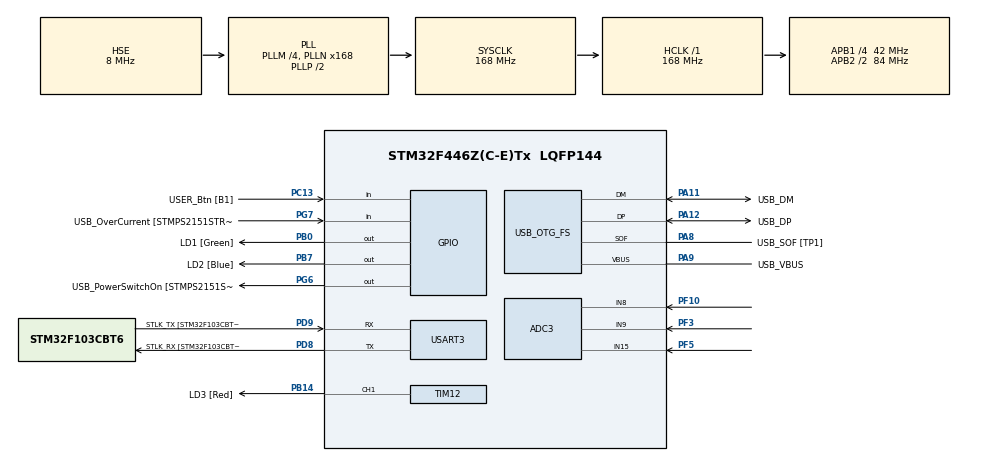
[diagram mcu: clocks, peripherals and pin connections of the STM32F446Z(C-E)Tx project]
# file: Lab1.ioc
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ADC3.Channel-0\#ChannelRegularConversion=ADC_CHANNEL_15
ADC3.NbrOfConversionFlag=1
ADC3.Rank-0\#ChannelRegularConversion=1
ADC3.SamplingTime-0\#ChannelRegularConversion=ADC_SAMPLETIME_3CYCLES
Mcu.Family=STM32F4
Mcu.Name=STM32F446Z(C-E)Tx
Mcu.Package=LQFP144
NVIC.PriorityGroup=NVIC_PRIORITYGROUP_4
PA10.GPIO_Label=USB_ID
PA10.Signal=USB_OTG_FS_ID
PA11.GPIO_Label=USB_DM
PA11.Mode=Device_Only
PA11.Signal=USB_OTG_FS_DM
PA12.GPIO_Label=USB_DP
PA12.Mode=Device_Only
PA12.Signal=USB_OTG_FS_DP
PA13.GPIO_Label=TMS
PA13.Mode=Serial_Wire
PA13.Signal=SYS_JTMS-SWDIO
PA14.GPIO_Label=TCK
PA14.Mode=Serial_Wire
PA14.Signal=SYS_JTCK-SWCLK
PA8.GPIO_Label=USB_SOF [TP1]
PA8.Mode=Activate_SOF_FS
PA8.Signal=USB_OTG_FS_SOF
PA9.GPIO_Label=USB_VBUS
PA9.Mode=Activate_VBUS
PA9.Signal=USB_OTG_FS_VBUS
PB0.GPIO_Label=LD1 [Green]
PB0.Signal=GPIO_Output
PB14.GPIO_Label=LD3 [Red]
PB14.Signal=S_TIM12_CH1
PB7.GPIO_Label=LD2 [Blue]
PB7.Signal=GPIO_Output
PC13.GPIO_Label=USER_Btn [B1]
PC13.Signal=GPIO_Input
PC14-OSC32_IN.Mode=LSE-External-Oscillator
PC14-OSC32_IN.Signal=RCC_OSC32_IN
PC15-OSC32_OUT.Mode=LSE-External-Oscillator
PC15-OSC32_OUT.Signal=RCC_OSC32_OUT
PD8.GPIO_Label=STLK_RX [STM32F103CBT6_PA3]
PD8.Mode=Asynchronous
PD8.Signal=USART3_TX
PD9.GPIO_Label=STLK_TX [STM32F103CBT6_PA2]
PD9.Mode=Asynchronous
PD9.Signal=USART3_RX
PF10.Mode=IN8
PF10.Signal=ADC3_IN8
PF3.Mode=IN9
PF3.Signal=ADC3_IN9
PF5.Mode=IN15
PF5.Signal=ADC3_IN15
PG6.GPIO_Label=USB_PowerSwitchOn [STMPS2151STR_EN]
PG6.Signal=GPIO_Output
PG7.GPIO_Label=USB_OverCurrent [STMPS2151STR_FAULT]
PG7.Signal=GPIO_Input
PH0-OSC_IN.GPIO_Label=MCO [STM32F103CBT6_PA8]
PH0-OSC_IN.Mode=HSE-External-Clock-Source
PH0-OSC_IN.Signal=RCC_OSC_IN
PH1-OSC_OUT.Mode=HSE-External-Clock-Source
PH1-OSC_OUT.Signal=RCC_OSC_OUT
ProjectManager.HeapSize=0x200
ProjectManager.StackSize=0x400
ProjectManager.TargetToolchain=STM32CubeIDE
RCC.48MHZClocksFreq_Value=24000000
RCC.AHBFreq_Value=168000000
RCC.APB1CLKDivider=RCC_HCLK_DIV4
RCC.APB1Freq_Value=42000000
RCC.APB1TimFreq_Value=84000000
RCC.APB2CLKDivider=RCC_HCLK_DIV2
RCC.APB2Freq_Value=84000000
RCC.APB2TimFreq_Value=168000000
RCC.CortexFreq_Value=168000000
RCC.HCLKFreq_Value=168000000
RCC.HSE_VALUE=8000000
RCC.HSI_VALUE=16000000
RCC.PLLM=4
RCC.PLLMUL=RCC_PLL_MUL9
RCC.PLLN=168
RCC.PLLQ=7
RCC.PRESCALERUSB=RCC_USBCLKSOURCE_PLL_DIV1_5
RCC.SYSCLKFreq_VALUE=168000000
RCC.SYSCLKSource=RCC_SYSCLKSOURCE_PLLCLK
RCC.SYSCLKSourceVirtual=RCC_SYSCLKSOURCE_PLLCLK
RCC.USBFreq_Value=48000000
RCC.VCOOutputFreq_Value=336000000
SH.S_TIM12_CH1.0=TIM12_CH1,PWM Generation1 CH1
TIM12.Channel-PWM\ Generation1\ CH1=TIM_CHANNEL_1
TIM12.Period=990
TIM12.Prescaler=83
TIM12.Pulse-PWM\ Generation1\ CH1=500
USART3.VirtualMode=VM_ASYNC
USB_OTG_FS.VirtualMode=Device_Only
VP_TIM12_VS_ClockSourceINT.Mode=Internal
board=NUCLEO-F446ZE

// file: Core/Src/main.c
/* USER CODE BEGIN Header */
/**
  ******************************************************************************
  * @file           : main.c
  * @brief          : Main program body
  ******************************************************************************
  * @attention
  *
  * Copyright (c) 2026 STMicroelectronics.
  * All rights reserved.
  *
  * This software is licensed under terms that can be found in the LICENSE file
  * in the root directory of this software component.
  * If no LICENSE file comes with this software, it is provided AS-IS.
  *
  ******************************************************************************
  */
/* USER CODE END Header */
#include "main.h"

ADC_HandleTypeDef hadc3;

TIM_HandleTypeDef htim12;

UART_HandleTypeDef huart3;

PCD_HandleTypeDef hpcd_USB_OTG_FS;

void SystemClock_Config(void);
static void MX_GPIO_Init(void);
static void MX_ADC3_Init(void);
static void MX_USART3_UART_Init(void);
static void MX_USB_OTG_FS_PCD_Init(void);
static void MX_TIM12_Init(void);

/* USER CODE BEGIN 0 */
void print_msg(char * msg) {
	HAL_UART_Transmit(&huart3, (uint8_t *)msg, strlen(msg), 100);
}

void LD3_start() {
    HAL_TIM_PWM_Start(&htim12, TIM_CHANNEL_1);
}

void LD3_setPeriod(uint16_t period) {
	__HAL_TIM_SET_AUTORELOAD(&htim12, period);
}

void LD3_setDuty(uint16_t duty) {
	__HAL_TIM_SET_COMPARE(&htim12, TIM_CHANNEL_1, duty);
}

uint16_t duty_cycle = 50; // Duty defined from 0 to 99
/* USER CODE END 0 */

int main(void)
{

  /* MCU Configuration--------------------------------------------------------*/

  /* Reset of all peripherals, Initializes the Flash interface and the Systick. */
  HAL_Init();

  /* Configure the system clock */
  SystemClock_Config();

  /* Initialize all configured peripherals */
  MX_GPIO_Init();
  MX_ADC3_Init();
  MX_USART3_UART_Init();
  MX_USB_OTG_FS_PCD_Init();
  MX_TIM12_Init();

  /* Infinite loop */
  /* USER CODE BEGIN WHILE */
  LD3_start();
  uint16_t adc_res;
  char message[100];

  while (1)
  {
	  HAL_ADC_Start(&hadc3);
	  HAL_ADC_PollForConversion(&hadc3, 100);
  	adc_res = HAL_ADC_GetValue(&hadc3);

  	duty_cycle = (adc_res * 990) / 4095;
  	LD3_setDuty(duty_cycle);

	  uint16_t on_time = (adc_res * 10) / 4095;
	  uint16_t off_time = 10 - on_time;

	  if(on_time > 0){
	  HAL_GPIO_WritePin(LD2_GPIO_Port, LD2_Pin, GPIO_PIN_SET);
	  HAL_Delay(on_time);
	  HAL_GPIO_WritePin(LD2_GPIO_Port, LD2_Pin, GPIO_PIN_RESET);
	  HAL_Delay(off_time);
	  }
	  else {
		  HAL_GPIO_WritePin(LD2_GPIO_Port, LD2_Pin, GPIO_PIN_RESET);
		  HAL_Delay(10);
	  }

  	  sprintf(message, "adc_res=%d, duty_cycle=%d\r\n", adc_res, duty_cycle);
  	  print_msg(message);

    /* USER CODE END WHILE */

  }
}

void SystemClock_Config(void)
{
  RCC_OscInitTypeDef RCC_OscInitStruct = {0};
  RCC_ClkInitTypeDef RCC_ClkInitStruct = {0};

  /** Configure the main internal regulator output voltage
  */
  __HAL_RCC_PWR_CLK_ENABLE();
  __HAL_PWR_VOLTAGESCALING_CONFIG(PWR_REGULATOR_VOLTAGE_SCALE1);

  /** Initializes the RCC Oscillators according to the specified parameters
  * in the RCC_OscInitTypeDef structure.
  */
  RCC_OscInitStruct.OscillatorType = RCC_OSCILLATORTYPE_HSE;
  RCC_OscInitStruct.HSEState = RCC_HSE_BYPASS;
  RCC_OscInitStruct.PLL.PLLState = RCC_PLL_ON;
  RCC_OscInitStruct.PLL.PLLSource = RCC_PLLSOURCE_HSE;
  RCC_OscInitStruct.PLL.PLLM = 4;
  RCC_OscInitStruct.PLL.PLLN = 168;
  RCC_OscInitStruct.PLL.PLLP = RCC_PLLP_DIV2;
  RCC_OscInitStruct.PLL.PLLQ = 7;
  RCC_OscInitStruct.PLL.PLLR = 2;
  if (HAL_RCC_OscConfig(&RCC_OscInitStruct) != HAL_OK)
  {
    Error_Handler();
  }

  /** Initializes the CPU, AHB and APB buses clocks
  */
  RCC_ClkInitStruct.ClockType = RCC_CLOCKTYPE_HCLK|RCC_CLOCKTYPE_SYSCLK
                              |RCC_CLOCKTYPE_PCLK1|RCC_CLOCKTYPE_PCLK2;
  RCC_ClkInitStruct.SYSCLKSource = RCC_SYSCLKSOURCE_PLLCLK;
  RCC_ClkInitStruct.AHBCLKDivider = RCC_SYSCLK_DIV1;
  RCC_ClkInitStruct.APB1CLKDivider = RCC_HCLK_DIV4;
  RCC_ClkInitStruct.APB2CLKDivider = RCC_HCLK_DIV2;

  if (HAL_RCC_ClockConfig(&RCC_ClkInitStruct, FLASH_LATENCY_5) != HAL_OK)
  {
    Error_Handler();
  }
}

static void MX_ADC3_Init(void)
{

  ADC_ChannelConfTypeDef sConfig = {0};

  /** Configure the global features of the ADC (Clock, Resolution, Data Alignment and number of conversion)
  */
  hadc3.Instance = ADC3;
  hadc3.Init.ClockPrescaler = ADC_CLOCK_SYNC_PCLK_DIV4;
  hadc3.Init.Resolution = ADC_RESOLUTION_12B;
  hadc3.Init.ScanConvMode = DISABLE;
  hadc3.Init.ContinuousConvMode = DISABLE;
  hadc3.Init.DiscontinuousConvMode = DISABLE;
  hadc3.Init.ExternalTrigConvEdge = ADC_EXTERNALTRIGCONVEDGE_NONE;
  hadc3.Init.ExternalTrigConv = ADC_SOFTWARE_START;
  hadc3.Init.DataAlign = ADC_DATAALIGN_RIGHT;
  hadc3.Init.NbrOfConversion = 1;
  hadc3.Init.DMAContinuousRequests = DISABLE;
  hadc3.Init.EOCSelection = ADC_EOC_SINGLE_CONV;
  if (HAL_ADC_Init(&hadc3) != HAL_OK)
  {
    Error_Handler();
  }

  /** Configure for the selected ADC regular channel its corresponding rank in the sequencer and its sample time.
  */
  sConfig.Channel = ADC_CHANNEL_15;
  sConfig.Rank = 1;
  sConfig.SamplingTime = ADC_SAMPLETIME_3CYCLES;
  if (HAL_ADC_ConfigChannel(&hadc3, &sConfig) != HAL_OK)
  {
    Error_Handler();
  }

}

static void MX_TIM12_Init(void)
{

  TIM_ClockConfigTypeDef sClockSourceConfig = {0};
  TIM_OC_InitTypeDef sConfigOC = {0};

  htim12.Instance = TIM12;
  htim12.Init.Prescaler = 83;
  htim12.Init.CounterMode = TIM_COUNTERMODE_UP;
  htim12.Init.Period = 990;
  htim12.Init.ClockDivision = TIM_CLOCKDIVISION_DIV1;
  htim12.Init.AutoReloadPreload = TIM_AUTORELOAD_PRELOAD_DISABLE;
  if (HAL_TIM_Base_Init(&htim12) != HAL_OK)
  {
    Error_Handler();
  }
  sClockSourceConfig.ClockSource = TIM_CLOCKSOURCE_INTERNAL;
  if (HAL_TIM_ConfigClockSource(&htim12, &sClockSourceConfig) != HAL_OK)
  {
    Error_Handler();
  }
  if (HAL_TIM_PWM_Init(&htim12) != HAL_OK)
  {
    Error_Handler();
  }
  sConfigOC.OCMode = TIM_OCMODE_PWM1;
  sConfigOC.Pulse = 500;
  sConfigOC.OCPolarity = TIM_OCPOLARITY_HIGH;
  sConfigOC.OCFastMode = TIM_OCFAST_DISABLE;
  if (HAL_TIM_PWM_ConfigChannel(&htim12, &sConfigOC, TIM_CHANNEL_1) != HAL_OK)
  {
    Error_Handler();
  }
  HAL_TIM_MspPostInit(&htim12);

}

static void MX_USART3_UART_Init(void)
{

  huart3.Instance = USART3;
  huart3.Init.BaudRate = 115200;
  huart3.Init.WordLength = UART_WORDLENGTH_8B;
  huart3.Init.StopBits = UART_STOPBITS_1;
  huart3.Init.Parity = UART_PARITY_NONE;
  huart3.Init.Mode = UART_MODE_TX_RX;
  huart3.Init.HwFlowCtl = UART_HWCONTROL_NONE;
  huart3.Init.OverSampling = UART_OVERSAMPLING_16;
  if (HAL_UART_Init(&huart3) != HAL_OK)
  {
    Error_Handler();
  }

}

static void MX_USB_OTG_FS_PCD_Init(void)
{

  hpcd_USB_OTG_FS.Instance = USB_OTG_FS;
  hpcd_USB_OTG_FS.Init.dev_endpoints = 6;
  hpcd_USB_OTG_FS.Init.speed = PCD_SPEED_FULL;
  hpcd_USB_OTG_FS.Init.dma_enable = DISABLE;
  hpcd_USB_OTG_FS.Init.phy_itface = PCD_PHY_EMBEDDED;
  hpcd_USB_OTG_FS.Init.Sof_enable = ENABLE;
  hpcd_USB_OTG_FS.Init.low_power_enable = DISABLE;
  hpcd_USB_OTG_FS.Init.lpm_enable = DISABLE;
  hpcd_USB_OTG_FS.Init.vbus_sensing_enable = ENABLE;
  hpcd_USB_OTG_FS.Init.use_dedicated_ep1 = DISABLE;
  if (HAL_PCD_Init(&hpcd_USB_OTG_FS) != HAL_OK)
  {
    Error_Handler();
  }

}

static void MX_GPIO_Init(void)
{
  GPIO_InitTypeDef GPIO_InitStruct = {0};

  /* GPIO Ports Clock Enable */
  __HAL_RCC_GPIOC_CLK_ENABLE();
  __HAL_RCC_GPIOF_CLK_ENABLE();
  __HAL_RCC_GPIOH_CLK_ENABLE();
  __HAL_RCC_GPIOB_CLK_ENABLE();
  __HAL_RCC_GPIOD_CLK_ENABLE();
  __HAL_RCC_GPIOG_CLK_ENABLE();
  __HAL_RCC_GPIOA_CLK_ENABLE();

  /*Configure GPIO pin Output Level */
  HAL_GPIO_WritePin(GPIOB, LD1_Pin|LD2_Pin, GPIO_PIN_RESET);

  /*Configure GPIO pin Output Level */
  HAL_GPIO_WritePin(USB_PowerSwitchOn_GPIO_Port, USB_PowerSwitchOn_Pin, GPIO_PIN_RESET);

  /*Configure GPIO pin : USER_Btn_Pin */
  GPIO_InitStruct.Pin = USER_Btn_Pin;
  GPIO_InitStruct.Mode = GPIO_MODE_INPUT;
  GPIO_InitStruct.Pull = GPIO_NOPULL;
  HAL_GPIO_Init(USER_Btn_GPIO_Port, &GPIO_InitStruct);

  /*Configure GPIO pins : LD1_Pin LD2_Pin */
  GPIO_InitStruct.Pin = LD1_Pin|LD2_Pin;
  GPIO_InitStruct.Mode = GPIO_MODE_OUTPUT_PP;
  GPIO_InitStruct.Pull = GPIO_NOPULL;
  GPIO_InitStruct.Speed = GPIO_SPEED_FREQ_LOW;
  HAL_GPIO_Init(GPIOB, &GPIO_InitStruct);

  /*Configure GPIO pin : USB_PowerSwitchOn_Pin */
  GPIO_InitStruct.Pin = USB_PowerSwitchOn_Pin;
  GPIO_InitStruct.Mode = GPIO_MODE_OUTPUT_PP;
  GPIO_InitStruct.Pull = GPIO_NOPULL;
  GPIO_InitStruct.Speed = GPIO_SPEED_FREQ_LOW;
  HAL_GPIO_Init(USB_PowerSwitchOn_GPIO_Port, &GPIO_InitStruct);

  /*Configure GPIO pin : USB_OverCurrent_Pin */
  GPIO_InitStruct.Pin = USB_OverCurrent_Pin;
  GPIO_InitStruct.Mode = GPIO_MODE_INPUT;
  GPIO_InitStruct.Pull = GPIO_NOPULL;
  HAL_GPIO_Init(USB_OverCurrent_GPIO_Port, &GPIO_InitStruct);

}

void Error_Handler(void)
{
  __disable_irq();
  while (1)
  {
  }
}
